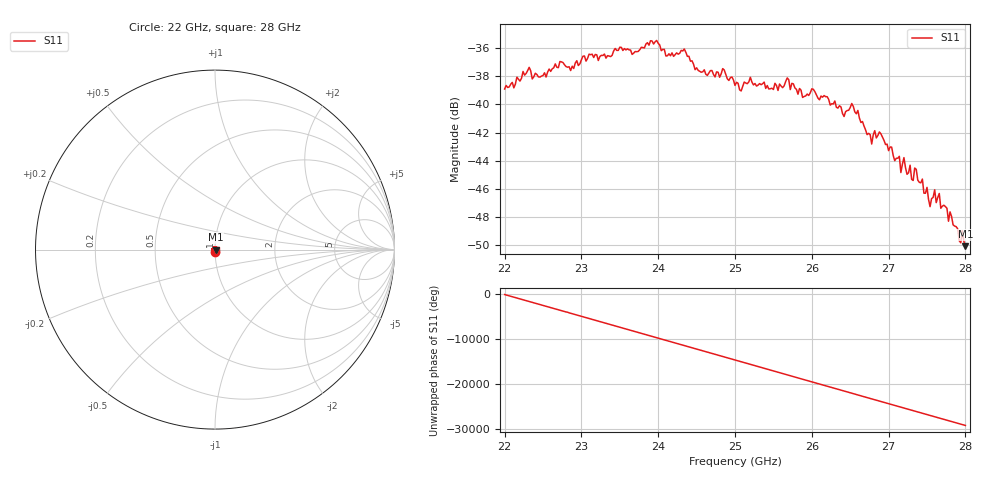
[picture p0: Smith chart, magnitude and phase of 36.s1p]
#  HZ  S  RI  R  50.00
! Rohde & Schwarz ZVA40 4Ports - Version 3.90 - 1145.1110k42 SN: 100403
! Date: 2023-10-04 08:45:01
! Measurement: S12
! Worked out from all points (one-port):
!   301 points, 22 GHz to 28 GHz, reference 50 ohm
!   lowest |S11| = -50.1 dB at 28 GHz (marker M1), VSWR 1.01, Z = 50.3 + j0.029 ohm
!   |S11| at or under -10 dB: start of sweep to end of sweep
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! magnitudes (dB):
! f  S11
! 22 GHz  -38.9
! 22.32 GHz  -37.4
! 22.54 GHz  -38.0
! 22.76 GHz  -37.0
! 23.5 GHz  -35.9
! 23.98 GHz  -35.4
! 24.26 GHz  -36.4
! 25 GHz  -38.6
! 25.76 GHz  -38.5
! 26.42 GHz  -40.9
! 26.5 GHz  -40.2
! 26.78 GHz  -42.8
! 26.88 GHz  -42.0
! 27.14 GHz  -43.7
! 27.16 GHz  -44.8
! 27.2 GHz  -43.8
! 27.26 GHz  -44.9
! 27.36 GHz  -44.6
! 27.46 GHz  -46.3
! 27.5 GHz  -45.9
! 27.54 GHz  -47.3
! 27.6 GHz  -46.1
! 27.66 GHz  -46.3
! 27.68 GHz  -47.4
! 27.8 GHz  -47.6
! 27.94 GHz  -49.8
! 27.96 GHz  -49.0
! 28 GHz  -50.1
